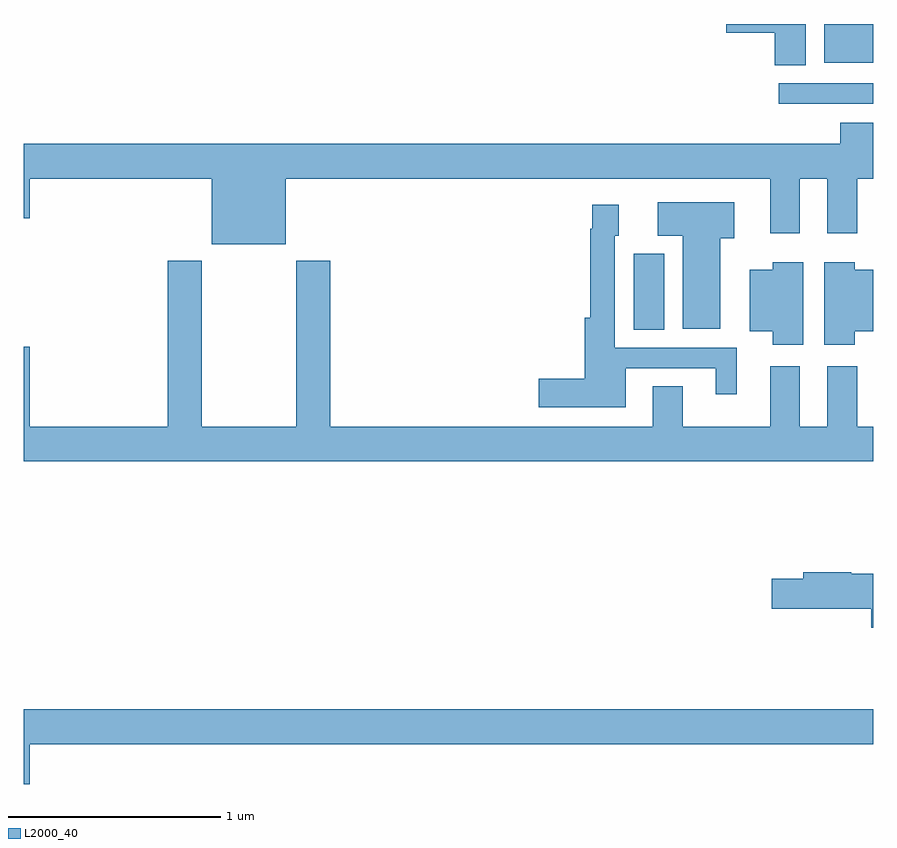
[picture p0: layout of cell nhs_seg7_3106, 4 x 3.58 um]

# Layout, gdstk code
import gdstk
lib = gdstk.Library(unit=1e-6, precision=1e-09)
def R(c, l, rs):  # rectangles x0, y0, x1, y1
    for r in rs: c.add(gdstk.rectangle(r[:2], r[2:], *l))
def P(c, l, *ps):  # polygons
    for p in ps: c.add(gdstk.Polygon(p, *l))
L2000_40 = (2000, 40)

nhs_seg7_3106 = lib.new_cell('nhs_seg7_3106')
R(nhs_seg7_3106, L2000_40, [(311.873,1010.56,312.016,1010.917), (312.555,1011.624,313,1011.72), (312.77,1011.818,313,1012)])
P(nhs_seg7_3106, L2000_40, [(312.682,1012),(312.308,1012),(312.308,1011.959),(312.536,1011.959),(312.536,1011.805),(312.682,1011.805)],
  [(310.234,1011.272),(312.515,1011.272),(312.515,1011.015),(312.655,1011.015),(312.655,1011.272),(312.785,1011.272),(312.785,1011.015),(312.925,1011.015),(312.925,1011.272),(313,1011.272),(313,1011.535),(312.845,1011.535),(312.845,1011.436),(309,1011.436),(309,1011.084),(309.028,1011.084),(309.028,1011.272),(309.884,1011.272),(309.884,1010.963),(310.234,1010.963)],
  [(312.28,1010.99),(312.346,1010.99),(312.346,1011.16),(311.985,1011.16),(311.985,1011.002),(312.104,1011.002),(312.104,1010.564),(312.28,1010.564)],
  [(311.836,1010.379),(312.26,1010.379),(312.26,1010.256),(312.358,1010.256),(312.358,1010.475),(311.784,1010.475),(311.784,1011.003),(311.803,1011.003),(311.803,1011.148),(311.676,1011.148),(311.676,1011.035),(311.668,1011.035),(311.668,1010.617),(311.642,1010.617),(311.642,1010.33),(311.424,1010.33),(311.424,1010.195),(311.836,1010.195)],
  [(313,1010.104),(312.925,1010.104),(312.925,1010.389),(312.785,1010.389),(312.785,1010.104),(312.655,1010.104),(312.655,1010.389),(312.515,1010.389),(312.515,1010.104),(312.103,1010.104),(312.103,1010.294),(311.963,1010.294),(311.963,1010.104),(310.442,1010.104),(310.442,1010.884),(310.282,1010.884),(310.282,1010.104),(309.837,1010.104),(309.837,1010.884),(309.677,1010.884),(309.677,1010.104),(309.028,1010.104),(309.028,1010.479),(309,1010.479),(309,1009.94),(313,1009.94)],
  [(312.67,1010.878),(312.527,1010.878),(312.527,1010.842),(312.419,1010.842),(312.419,1010.552),(312.527,1010.552),(312.527,1010.49),(312.67,1010.49)],
  [(312.913,1010.552),(313,1010.552),(313,1010.842),(312.913,1010.842),(312.913,1010.878),(312.77,1010.878),(312.77,1010.49),(312.913,1010.49)],
  [(313,1009.411),(312.896,1009.411),(312.896,1009.418),(312.671,1009.418),(312.671,1009.388),(312.522,1009.388),(312.522,1009.246),(312.992,1009.246),(312.992,1009.157),(313,1009.157)],
  [(309.028,1008.608),(313,1008.608),(313,1008.772),(309,1008.772),(309,1008.42),(309.028,1008.42)])

lib.write_gds('nhs_seg7_3106.gds')
